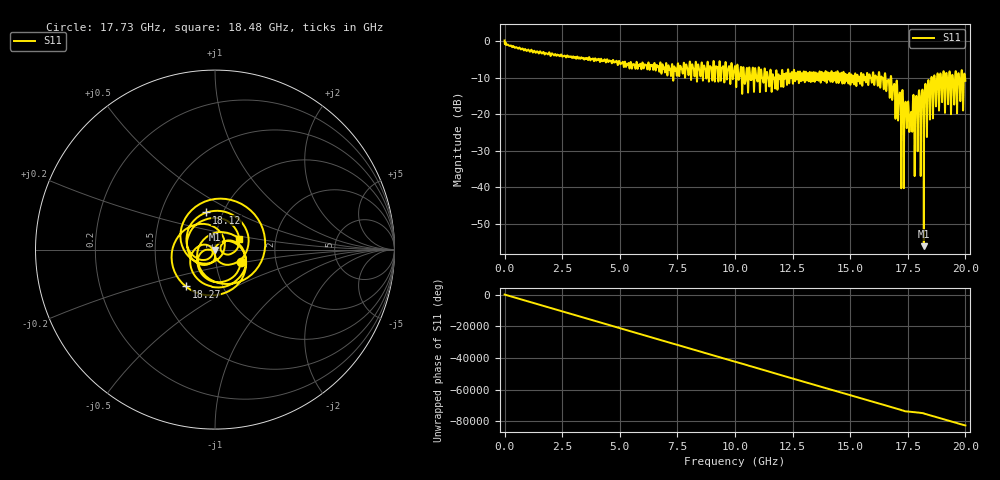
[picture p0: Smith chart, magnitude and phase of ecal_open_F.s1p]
! MS46122B
! 2250307/22442219
! 6/18/2025 1:20:10 PM
! C:\USERS\SPARKY\DOCUMENTS\VNA_DATA\JUNE18_2025\295K\ECAL_OPEN_F.S1P
! CHANNEL.1
! TR.MEASUREMENT
! RAW.DATA
# GHZ S RI R 50.0
! FREQ.GHZ  S11RE  S11IM
!; PortSelection: Port_1
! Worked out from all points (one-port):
!   10001 points, 1 MHz to 20 GHz, reference 50 ohm
!   lowest |S11| = -56.2 dB at 18.2 GHz (marker M1), VSWR 1.00, Z = 49.9 - j0.0795 ohm
!   |S11| at or under -10 dB: 16.38 GHz to 16.49 GHz (108.8 MHz wide, 0.662 % of centre); 16.53 GHz to 16.76 GHz (220.8 MHz wide, 1.33 % of centre); 16.78 GHz to 18.52 GHz (1.738 GHz wide, 9.85 % of centre) (the widest 3 of 96)
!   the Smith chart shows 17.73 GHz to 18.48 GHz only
!   S11 on the Smith chart (normalised r, x): 17.73 GHz: 1.32, -0.18; 18.12 GHz: 0.84, +0.36; 18.27 GHz: 0.67, -0.30; 18.48 GHz: 1.30, +0.16
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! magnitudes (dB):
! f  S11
! 1 MHz  0.2
! 2.501 GHz  -4.2
! 5.001 GHz  -5.9
! 7.501 GHz  -7.3
! 10 GHz  -6.8
! 11.67 GHz  -10.2
! 12.5 GHz  -10.7
! 15 GHz  -11.7
! 16.58 GHz  -12.3
! 17.09 GHz  -19.1
! 17.14 GHz  -14.6
! 17.21 GHz  -24.9
! 17.28 GHz  -14.2
! 17.5 GHz  -16.9
! 17.73 GHz  -16.0
! 17.81 GHz  -26.2
! 17.87 GHz  -15.1
! 17.93 GHz  -29.7
! 17.99 GHz  -13.4
! 18.07 GHz  -26.1
! 18.12 GHz  -13.5
! 18.2 GHz  -56.2
! 18.27 GHz  -11.6
! 18.32 GHz  -23.3
! 18.4 GHz  -10.6
! 18.48 GHz  -16.6
! 18.98 GHz  -16.5
! 20 GHz  -10.8
